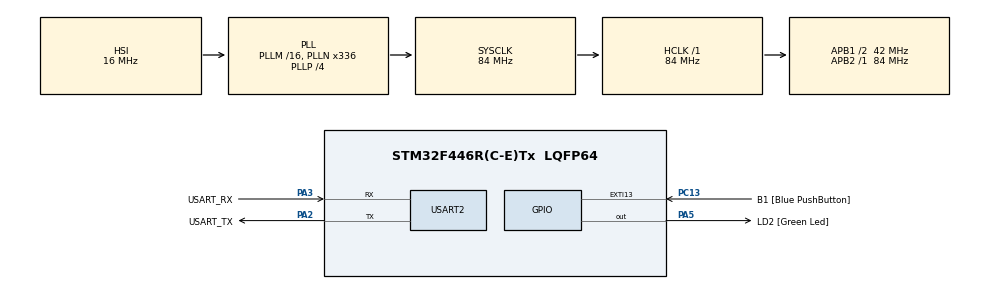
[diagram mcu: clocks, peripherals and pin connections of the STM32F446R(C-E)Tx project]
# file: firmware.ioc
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Mcu.Family=STM32F4
Mcu.Name=STM32F446R(C-E)Tx
Mcu.Package=LQFP64
NVIC.PriorityGroup=NVIC_PRIORITYGROUP_0
PA13.GPIO_Label=TMS
PA13.Mode=Serial_Wire
PA13.Signal=SYS_JTMS-SWDIO
PA14.GPIO_Label=TCK
PA14.Mode=Serial_Wire
PA14.Signal=SYS_JTCK-SWCLK
PA2.GPIO_Label=USART_TX
PA2.Mode=Asynchronous
PA2.Signal=USART2_TX
PA3.GPIO_Label=USART_RX
PA3.Mode=Asynchronous
PA3.Signal=USART2_RX
PA5.GPIO_Label=LD2 [Green Led]
PA5.Signal=GPIO_Output
PB3.GPIO_Label=SWO
PB3.Signal=SYS_JTDO-SWO
PC13.GPIO_Label=B1 [Blue PushButton]
PC13.GPIO_ModeDefaultEXTI=GPIO_MODE_IT_FALLING
PC13.Signal=GPXTI13
PC14-OSC32_IN.Mode=LSE-External-Oscillator
PC14-OSC32_IN.Signal=RCC_OSC32_IN
PC15-OSC32_OUT.Mode=LSE-External-Oscillator
PC15-OSC32_OUT.Signal=RCC_OSC32_OUT
PH0-OSC_IN.Mode=HSE-External-Oscillator
PH0-OSC_IN.Signal=RCC_OSC_IN
PH1-OSC_OUT.Mode=HSE-External-Oscillator
PH1-OSC_OUT.Signal=RCC_OSC_OUT
ProjectManager.HeapSize=0x200
ProjectManager.StackSize=0x400
ProjectManager.TargetToolchain=STM32CubeIDE
RCC.48MHZClocksFreq_Value=84000000
RCC.AHBFreq_Value=84000000
RCC.APB1CLKDivider=RCC_HCLK_DIV2
RCC.APB1Freq_Value=42000000
RCC.APB1TimFreq_Value=84000000
RCC.APB2Freq_Value=84000000
RCC.APB2TimFreq_Value=84000000
RCC.CortexFreq_Value=84000000
RCC.FLatency-AdvancedSettings=FLASH_LATENCY_2
RCC.HCLKFreq_Value=84000000
RCC.HSE_VALUE=8000000
RCC.HSI_VALUE=16000000
RCC.PLLN=336
RCC.PLLP=RCC_PLLP_DIV4
RCC.SYSCLKFreq_VALUE=84000000
RCC.SYSCLKSource=RCC_SYSCLKSOURCE_PLLCLK
RCC.USBFreq_Value=168000000
RCC.VCOOutputFreq_Value=336000000
USART2.VirtualMode=VM_ASYNC
board=NUCLEO-F446RE

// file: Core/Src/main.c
/* USER CODE BEGIN Header */
/**
  ******************************************************************************
  * @file           : main.c
  * @brief          : Main program body
  ******************************************************************************
  * @attention
  *
  * Copyright (c) 2025 STMicroelectronics.
  * All rights reserved.
  *
  * This software is licensed under terms that can be found in the LICENSE file
  * in the root directory of this software component.
  * If no LICENSE file comes with this software, it is provided AS-IS.
  *
  ******************************************************************************
  */
/* USER CODE END Header */
#include "main.h"

/* USER CODE BEGIN Includes */
#include <stdio.h>
#include <string.h>
#include <math.h>
/* USER CODE END Includes */

UART_HandleTypeDef huart2;

void SystemClock_Config(void);
static void MX_GPIO_Init(void);
static void MX_USART2_UART_Init(void);

int main(void)
{

  /* MCU Configuration--------------------------------------------------------*/

  /* Reset of all peripherals, Initializes the Flash interface and the Systick. */
  HAL_Init();

  /* Configure the system clock */
  SystemClock_Config();

  /* Initialize all configured peripherals */
  MX_GPIO_Init();
  MX_USART2_UART_Init();
  /* USER CODE BEGIN 2 */
  /* USER CODE BEGIN 2 */
  char buffer[64];
  int i = 0;
  const int N = 21;          /* t = 0.0 ... 2.0 з кроком 0.1 → 21 точка */
  const float dt = 0.1f;
  /* USER CODE END 2 */

  /* Infinite loop */
  /* USER CODE BEGIN WHILE */
  while (1)
  {
      if (i < N)
      {
          float t = dt * i;
          float y = -0.375f * t * t * t + 1.125f * t * t;
          int len = snprintf(buffer, sizeof(buffer), "%.4f %.4f\r\n", t, y);
          HAL_UART_Transmit(&huart2, (uint8_t*)buffer, len, HAL_MAX_DELAY);
          i++;
      }

      HAL_GPIO_TogglePin(GPIOA, GPIO_PIN_5);
      HAL_Delay(100);
    /* USER CODE END WHILE */

  }
}
void SystemClock_Config(void)
{
  RCC_OscInitTypeDef RCC_OscInitStruct = {0};
  RCC_ClkInitTypeDef RCC_ClkInitStruct = {0};

  /** Configure the main internal regulator output voltage
  */
  __HAL_RCC_PWR_CLK_ENABLE();
  __HAL_PWR_VOLTAGESCALING_CONFIG(PWR_REGULATOR_VOLTAGE_SCALE3);

  /** Initializes the RCC Oscillators according to the specified parameters
  * in the RCC_OscInitTypeDef structure.
  */
  RCC_OscInitStruct.OscillatorType = RCC_OSCILLATORTYPE_HSI;
  RCC_OscInitStruct.HSIState = RCC_HSI_ON;
  RCC_OscInitStruct.HSICalibrationValue = RCC_HSICALIBRATION_DEFAULT;
  RCC_OscInitStruct.PLL.PLLState = RCC_PLL_ON;
  RCC_OscInitStruct.PLL.PLLSource = RCC_PLLSOURCE_HSI;
  RCC_OscInitStruct.PLL.PLLM = 16;
  RCC_OscInitStruct.PLL.PLLN = 336;
  RCC_OscInitStruct.PLL.PLLP = RCC_PLLP_DIV4;
  RCC_OscInitStruct.PLL.PLLQ = 2;
  RCC_OscInitStruct.PLL.PLLR = 2;
  if (HAL_RCC_OscConfig(&RCC_OscInitStruct) != HAL_OK)
  {
    Error_Handler();
  }

  /** Initializes the CPU, AHB and APB buses clocks
  */
  RCC_ClkInitStruct.ClockType = RCC_CLOCKTYPE_HCLK|RCC_CLOCKTYPE_SYSCLK
                              |RCC_CLOCKTYPE_PCLK1|RCC_CLOCKTYPE_PCLK2;
  RCC_ClkInitStruct.SYSCLKSource = RCC_SYSCLKSOURCE_PLLCLK;
  RCC_ClkInitStruct.AHBCLKDivider = RCC_SYSCLK_DIV1;
  RCC_ClkInitStruct.APB1CLKDivider = RCC_HCLK_DIV2;
  RCC_ClkInitStruct.APB2CLKDivider = RCC_HCLK_DIV1;

  if (HAL_RCC_ClockConfig(&RCC_ClkInitStruct, FLASH_LATENCY_2) != HAL_OK)
  {
    Error_Handler();
  }
}

static void MX_USART2_UART_Init(void)
{

  huart2.Instance = USART2;
  huart2.Init.BaudRate = 115200;
  huart2.Init.WordLength = UART_WORDLENGTH_8B;
  huart2.Init.StopBits = UART_STOPBITS_1;
  huart2.Init.Parity = UART_PARITY_NONE;
  huart2.Init.Mode = UART_MODE_TX_RX;
  huart2.Init.HwFlowCtl = UART_HWCONTROL_NONE;
  huart2.Init.OverSampling = UART_OVERSAMPLING_16;
  if (HAL_UART_Init(&huart2) != HAL_OK)
  {
    Error_Handler();
  }

}

static void MX_GPIO_Init(void)
{
  GPIO_InitTypeDef GPIO_InitStruct = {0};

  /* GPIO Ports Clock Enable */
  __HAL_RCC_GPIOC_CLK_ENABLE();
  __HAL_RCC_GPIOH_CLK_ENABLE();
  __HAL_RCC_GPIOA_CLK_ENABLE();
  __HAL_RCC_GPIOB_CLK_ENABLE();

  /*Configure GPIO pin Output Level */
  HAL_GPIO_WritePin(LD2_GPIO_Port, LD2_Pin, GPIO_PIN_RESET);

  /*Configure GPIO pin : B1_Pin */
  GPIO_InitStruct.Pin = B1_Pin;
  GPIO_InitStruct.Mode = GPIO_MODE_IT_FALLING;
  GPIO_InitStruct.Pull = GPIO_NOPULL;
  HAL_GPIO_Init(B1_GPIO_Port, &GPIO_InitStruct);

  /*Configure GPIO pin : LD2_Pin */
  GPIO_InitStruct.Pin = LD2_Pin;
  GPIO_InitStruct.Mode = GPIO_MODE_OUTPUT_PP;
  GPIO_InitStruct.Pull = GPIO_NOPULL;
  GPIO_InitStruct.Speed = GPIO_SPEED_FREQ_LOW;
  HAL_GPIO_Init(LD2_GPIO_Port, &GPIO_InitStruct);

}

void Error_Handler(void)
{
  __disable_irq();
  while (1)
  {
  }
}
